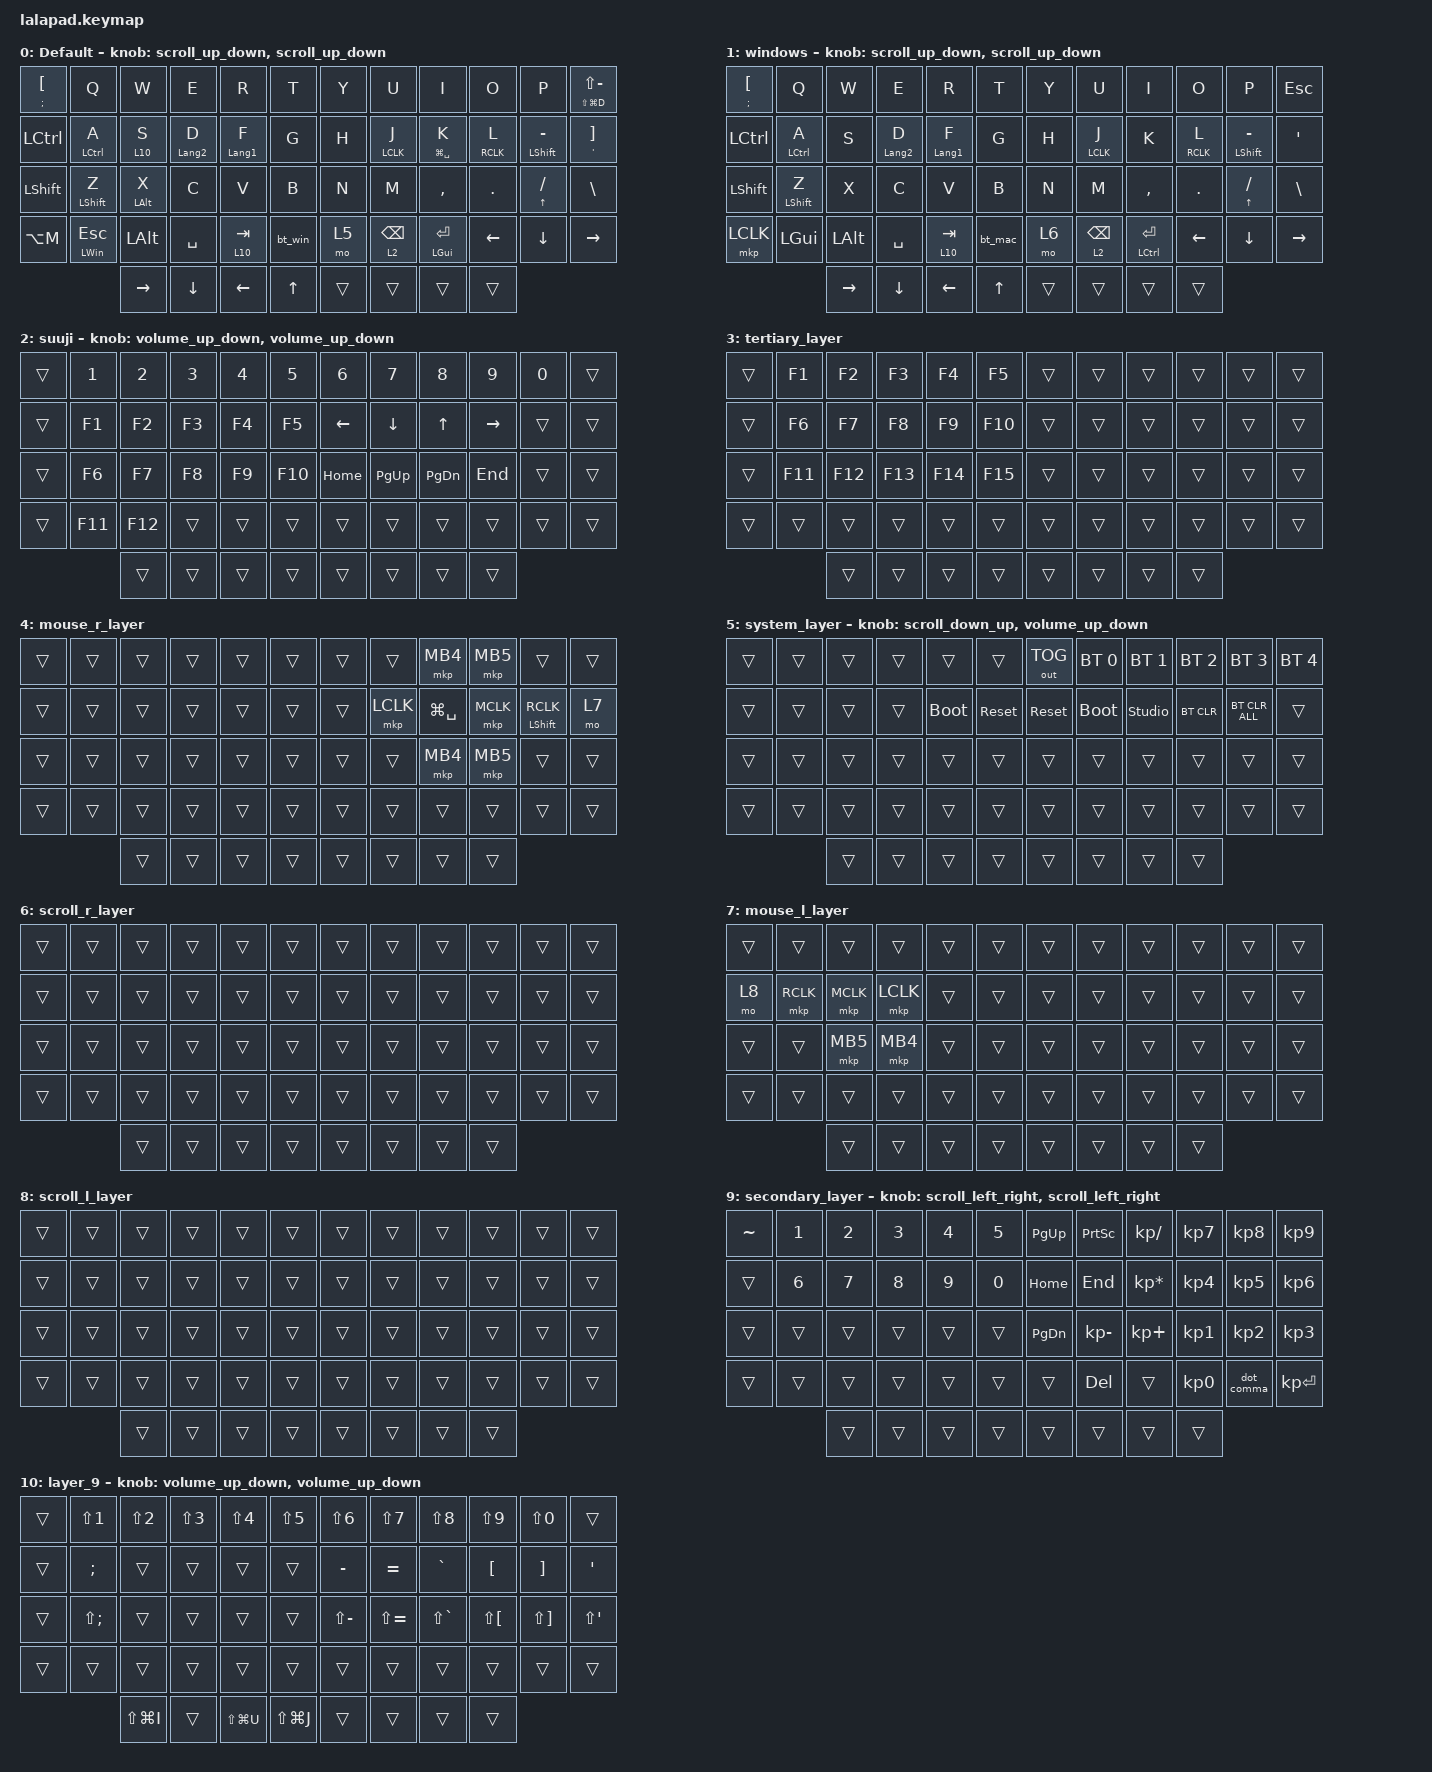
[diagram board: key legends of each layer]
#include <input/processors.dtsi>
#include <behaviors.dtsi>
#include <dt-bindings/zmk/bt.h>
#include <dt-bindings/zmk/keys.h>
#include <dt-bindings/zmk/outputs.h>
#include <dt-bindings/zmk/pointing.h>

#define DEFAULT_LAYER   0
#define SECONDARY_LAYER 1
#define TERTIARY_LAYER  2
#define SYSTEM_LAYER    3
#define MOUSE_R_LAYER   4
#define SCROLL_R_LAYER  5
#define MOUSE_L_LAYER   6
#define SCROLL_L_LAYER  7

// Mouse Scroll Value

#define ZMK_POINTING_DEFAULT_SCRL_VAL 100

// cirque trackpad input&layer control

&glidepoint_listener_R {
    input-processors =
        <&zip_xy_transform (INPUT_TRANSFORM_XY_SWAP | INPUT_TRANSFORM_X_INVERT | INPUT_TRANSFORM_Y_INVERT)>,
        <&zip_xy_scaler 3 2>,
        <&zip_temp_layer MOUSE_R_LAYER 500>;

    lowspeedmode {
        layers = <SECONDARY_LAYER>;
        input-processors =
            <&zip_xy_transform (INPUT_TRANSFORM_XY_SWAP | INPUT_TRANSFORM_X_INVERT | INPUT_TRANSFORM_Y_INVERT)>,
            <&zip_xy_scaler 3 5>,
            <&zip_temp_layer MOUSE_R_LAYER 500>;
    };

    scroller {
        layers = <SCROLL_R_LAYER>;
        input-processors =
            <&zip_xy_to_scroll_mapper>,
            <&zip_scroll_transform (INPUT_TRANSFORM_XY_SWAP | INPUT_TRANSFORM_Y_INVERT)>,
            <&zip_scroll_scaler 1 8>;
    };
};

&glidepoint_listener_L {
    input-processors =
        <&zip_xy_transform (INPUT_TRANSFORM_XY_SWAP | INPUT_TRANSFORM_X_INVERT | INPUT_TRANSFORM_Y_INVERT)>,
        <&zip_xy_scaler 3 2>,
        <&zip_temp_layer MOUSE_L_LAYER 500>;

    lowspeedmode {
        layers = <SECONDARY_LAYER>;
        input-processors =
            <&zip_xy_transform (INPUT_TRANSFORM_XY_SWAP | INPUT_TRANSFORM_X_INVERT | INPUT_TRANSFORM_Y_INVERT)>,
            <&zip_xy_scaler 3 4>,
            <&zip_temp_layer MOUSE_L_LAYER 500>;
    };

    scroller {
        layers = <SCROLL_L_LAYER>;
        input-processors =
            <&zip_xy_to_scroll_mapper>,
            <&zip_scroll_transform (INPUT_TRANSFORM_XY_SWAP | INPUT_TRANSFORM_Y_INVERT)>,
            <&zip_scroll_scaler 1 6>;
    };
};

/ {
    behaviors {
        // Encoder to Mouse Scroll

        scroll_up_down: sensor_scroll_up_down {
            compatible = "zmk,behavior-sensor-rotate";
            #sensor-binding-cells = <0>;
            bindings = <&msc SCRL_UP>, <&msc SCRL_DOWN>;

            tap-ms = <20>;
            label = "SCROLL_UP_DOWN";
        };

        scroll_down_up: sensor_scroll_down_up {
            compatible = "zmk,behavior-sensor-rotate";
            #sensor-binding-cells = <0>;
            bindings = <&msc SCRL_DOWN>, <&msc SCRL_UP>;

            tap-ms = <20>;
            label = "SCROLL_DOWN_UP";
        };

        scroll_left_right: sensor_scroll_left_right {
            compatible = "zmk,behavior-sensor-rotate";
            #sensor-binding-cells = <0>;
            bindings = <&msc SCRL_LEFT>, <&msc SCRL_RIGHT>;

            tap-ms = <20>;
            label = "SCROLL_LEFT_RIGHT";
        };

        scroll_right_left: sensor_scroll_right_left {
            compatible = "zmk,behavior-sensor-rotate";
            #sensor-binding-cells = <0>;
            bindings = <&msc SCRL_RIGHT>, <&msc SCRL_LEFT>;

            tap-ms = <20>;
            label = "SCROLL_RIGHT_LEFT";
        };

        volume_up_down: sensor_volume_up_down {
            compatible = "zmk,behavior-sensor-rotate";
            #sensor-binding-cells = <0>;
            bindings = <&kp C_VOL_DN>, <&kp C_VOL_UP>;

            tap-ms = <20>;
            label = "VOLUME_UP_DOWN";
        };

        dot_comma: dot_comma {
            compatible = "zmk,behavior-mod-morph";
            #binding-cells = <0>;
            bindings = <&kp KP_DOT>, <&kp COMMA>;

            mods = <(MOD_LSFT|MOD_RSFT)>;
            label = "DOT_COMMA";
        };

        pls_minus: pls_minus {
            compatible = "zmk,behavior-mod-morph";
            #binding-cells = <0>;
            bindings = <&kp PLUS>, <&kp MINUS>;

            mods = <(MOD_LSFT|MOD_RSFT)>;
            label = "PLS_MINUS";
        };

        allow_pageup: allow_pageup {
            compatible = "zmk,behavior-mod-morph";
            #binding-cells = <0>;
            bindings = <&kp UP>, <&kp PAGE_UP>;

            mods = <(MOD_LCTL|MOD_RCTL)>;
            label = "ALLOW_PAGEUP";
        };

        allow_pagedown: allow_pagedown {
            compatible = "zmk,behavior-mod-morph";
            #binding-cells = <0>;
            bindings = <&kp DOWN>, <&kp PAGE_DOWN>;

            mods = <(MOD_LCTL|MOD_RCTL)>;
            label = "ALLOW_PAGEDOWN";
        };

        allow_home: allow_home {
            compatible = "zmk,behavior-mod-morph";
            #binding-cells = <0>;
            bindings = <&kp LEFT>, <&kp HOME>;

            mods = <(MOD_LCTL|MOD_RCTL)>;
            label = "ALLOW_HOME";
        };

        allow_end: allow_end {
            compatible = "zmk,behavior-mod-morph";
            #binding-cells = <0>;
            bindings = <&kp RIGHT>, <&kp END>;

            mods = <(MOD_LCTL|MOD_RCTL)>;
            label = "ALLOW_END";
        };

        mt2: mod_tap2 {
            compatible = "zmk,behavior-hold-tap";
            #binding-cells = <2>;
            flavor = "tap-preferred";
            tapping-term-ms = <200>;
            quick-tap-ms = <200>;
            require-prior-idle-ms = <125>;
            bindings = <&kp>, <&kp>;
        };

        lt2: lt2 {
            compatible = "zmk,behavior-hold-tap";
            #binding-cells = <2>;
            flavor = "tap-preferred";
            tapping-term-ms = <200>;
            quick-tap-ms = <200>;
            require-prior-idle-ms = <125>;
            bindings = <&mo>, <&kp>;

            label = "LT2";
        };

        cppsx: cppsx {
            compatible = "zmk,behavior-tap-dance";
            label = "CPPSX";
            #binding-cells = <0>;
            bindings = <&kp LG(C)>, <&kp LG(V)>, <&kp LA(LG(V))>;
        };

        mkp_tap: mkp_tap {
            compatible = "zmk,behavior-hold-tap";
            #binding-cells = <2>;
            flavor = "tap-preferred";
            tapping-term-ms = <200>;
            quick-tap-ms = <200>;
            require-prior-idle-ms = <125>;
            bindings = <&mkp>, <&kp>;

            label = "MKP_TAP";
        };

        tap_mkp: tap_mkp {
            compatible = "zmk,behavior-hold-tap";
            #binding-cells = <2>;
            flavor = "tap-preferred";
            tapping-term-ms = <200>;
            quick-tap-ms = <200>;
            require-prior-idle-ms = <125>;
            bindings = <&kp>, <&mkp>;

            label = "TAP_MKP";
        };
    };

    macros {
        tap: tap {
            compatible = "zmk,behavior-macro";
            #binding-cells = <0>;
            bindings = <&mkp LCLK>;
            label = "TAP";
        };

        bt_mac: bt_mac {
            compatible = "zmk,behavior-macro";
            #binding-cells = <0>;
            bindings = <&bt BT_SEL 0 &to 0>;
            label = "BT_MAC";
        };

        bt_win: bt_win {
            compatible = "zmk,behavior-macro";
            #binding-cells = <0>;
            bindings = <&bt BT_SEL 2 &to 1>;
            label = "BT_WIN";
        };
    };

    keymap {
        compatible = "zmk,keymap";

        DEFAULT_LAYER {
            display-name = "Default";
            sensor-bindings = <&scroll_up_down>, <&scroll_up_down>;

            bindings = <
&mt2 SEMI LBKT  &kp Q                 &kp W            &kp E              &kp R              &kp T         &kp Y   &kp U             &kp I                &kp O            &kp P                  &mt2 LS(LG(D)) LS(MINUS)
&kp LCTRL       &mt2 LCTRL A          &lt2 10 S        &mt2 LANGUAGE_2 D  &mt2 LANGUAGE_1 F  &kp G         &kp H   &mkp_tap LCLK J   &mt2 LG(SPACE) K     &mkp_tap RCLK L  &mt2 LEFT_SHIFT MINUS  &mt2 SQT RBKT
&kp LSHFT       &mt2 LEFT_SHIFT Z     &mt2 LEFT_ALT X  &kp C              &kp V              &kp B         &kp N   &kp M             &kp COMMA            &kp PERIOD       &mt2 UP SLASH          &kp BSLH
&kp LA(M)       &mt2 LEFT_WIN ESCAPE  &kp LEFT_ALT     &kp SPACE          &lt2 10 TAB        &bt_win       &mo 5   &lt2 2 BACKSPACE  &mt2 LEFT_GUI ENTER  &kp LEFT         &kp DOWN               &kp RIGHT
                                      &kp RIGHT_ARROW  &kp DOWN_ARROW     &kp LEFT_ARROW     &kp UP_ARROW  &trans  &trans            &trans               &trans
            >;
        };

        windows {
            bindings = <
&mt2 SEMI LBKT  &kp Q              &kp W      &kp E              &kp R              &kp T         &kp Y   &kp U             &kp I             &kp O            &kp P                  &kp ESCAPE
&kp LCTRL       &mt2 LCTRL A       &kp S      &mt2 LANGUAGE_2 D  &mt2 LANGUAGE_1 F  &kp G         &kp H   &mkp_tap LCLK J   &kp K             &mkp_tap RCLK L  &mt2 LEFT_SHIFT MINUS  &kp APOS
&kp LSHFT       &mt2 LEFT_SHIFT Z  &kp X      &kp C              &kp V              &kp B         &kp N   &kp M             &kp COMMA         &kp DOT          &mt2 UP_ARROW FSLH     &kp BSLH
&mkp LCLK       &kp LGUI           &kp LALT   &kp SPACE          &lt2 10 TAB        &bt_mac       &mo 6   &lt2 2 BACKSPACE  &mt2 LCTRL ENTER  &kp LEFT_ARROW   &kp DOWN_ARROW         &kp RIGHT_ARROW
                                   &kp RIGHT  &kp DOWN_ARROW     &kp LEFT_ARROW     &kp UP_ARROW  &trans  &trans            &trans            &trans
            >;

            sensor-bindings = <&scroll_up_down>, <&scroll_up_down>;
        };

        suuji {
            bindings = <
&trans  &kp N1   &kp N2   &kp N3  &kp N4  &kp N5   &kp N6          &kp N7          &kp N8        &kp N9           &kp N0  &trans
&trans  &kp F1   &kp F2   &kp F3  &kp F4  &kp F5   &kp LEFT_ARROW  &kp DOWN_ARROW  &kp UP_ARROW  &kp RIGHT_ARROW  &trans  &trans
&trans  &kp F6   &kp F7   &kp F8  &kp F9  &kp F10  &kp HOME        &kp PG_UP       &kp PG_DN     &kp END          &trans  &trans
&trans  &kp F11  &kp F12  &trans  &trans  &trans   &trans          &trans          &trans        &trans           &trans  &trans
                 &trans   &trans  &trans  &trans   &trans          &trans          &trans        &trans
            >;

            sensor-bindings = <&volume_up_down>, <&volume_up_down>;
        };

        TERTIARY_LAYER {
            display-name = "tertiary_layer";
            bindings = <
&trans  &kp F1   &kp F2   &kp F3   &kp F4   &kp F5   &trans  &trans  &trans  &trans  &trans  &trans
&trans  &kp F6   &kp F7   &kp F8   &kp F9   &kp F10  &trans  &trans  &trans  &trans  &trans  &trans
&trans  &kp F11  &kp F12  &kp F13  &kp F14  &kp F15  &trans  &trans  &trans  &trans  &trans  &trans
&trans  &trans   &trans   &trans   &trans   &trans   &trans  &trans  &trans  &trans  &trans  &trans
                 &trans   &trans   &trans   &trans   &trans  &trans  &trans  &trans
            >;
        };

        MOUSE_R_LAYER {
            display-name = "mouse_r_layer";
            bindings = <
&trans  &trans  &trans  &trans  &trans  &trans  &trans  &trans     &mkp MB4       &mkp MB5   &trans                    &trans
&trans  &trans  &trans  &trans  &trans  &trans  &trans  &mkp LCLK  &kp LG(SPACE)  &mkp MCLK  &tap_mkp LEFT_SHIFT RCLK  &mo 7
&trans  &trans  &trans  &trans  &trans  &trans  &trans  &trans     &mkp MB4       &mkp MB5   &trans                    &trans
&trans  &trans  &trans  &trans  &trans  &trans  &trans  &trans     &trans         &trans     &trans                    &trans
                &trans  &trans  &trans  &trans  &trans  &trans     &trans         &trans
            >;
        };

        SYSTEM_LAYER {
            display-name = "system_layer";
            sensor-bindings = <&scroll_down_up>, <&volume_up_down>;

            bindings = <
&trans  &trans  &trans  &trans  &trans       &trans      &out OUT_TOG  &bt BT_SEL 0  &bt BT_SEL 1    &bt BT_SEL 2  &bt BT_SEL 3    &bt BT_SEL 4
&trans  &trans  &trans  &trans  &bootloader  &sys_reset  &sys_reset    &bootloader   &studio_unlock  &bt BT_CLR    &bt BT_CLR_ALL  &trans
&trans  &trans  &trans  &trans  &trans       &trans      &trans        &trans        &trans          &trans        &trans          &trans
&trans  &trans  &trans  &trans  &trans       &trans      &trans        &trans        &trans          &trans        &trans          &trans
                &trans  &trans  &trans       &trans      &trans        &trans        &trans          &trans
            >;
        };

        SCROLL_R_LAYER {
            display-name = "scroll_r_layer";
            bindings = <
&trans  &trans  &trans  &trans  &trans  &trans  &trans  &trans  &trans  &trans  &trans  &trans
&trans  &trans  &trans  &trans  &trans  &trans  &trans  &trans  &trans  &trans  &trans  &trans
&trans  &trans  &trans  &trans  &trans  &trans  &trans  &trans  &trans  &trans  &trans  &trans
&trans  &trans  &trans  &trans  &trans  &trans  &trans  &trans  &trans  &trans  &trans  &trans
                &trans  &trans  &trans  &trans  &trans  &trans  &trans  &trans
            >;
        };

        MOUSE_L_LAYER {
            display-name = "mouse_l_layer";
            bindings = <
&trans  &trans     &trans     &trans     &trans  &trans  &trans  &trans  &trans  &trans  &trans  &trans
&mo 8   &mkp RCLK  &mkp MCLK  &mkp LCLK  &trans  &trans  &trans  &trans  &trans  &trans  &trans  &trans
&trans  &trans     &mkp MB5   &mkp MB4   &trans  &trans  &trans  &trans  &trans  &trans  &trans  &trans
&trans  &trans     &trans     &trans     &trans  &trans  &trans  &trans  &trans  &trans  &trans  &trans
                   &trans     &trans     &trans  &trans  &trans  &trans  &trans  &trans
            >;
        };

        SCROLL_L_LAYER {
            display-name = "scroll_l_layer";
            bindings = <
&trans  &trans  &trans  &trans  &trans  &trans  &trans  &trans  &trans  &trans  &trans  &trans
&trans  &trans  &trans  &trans  &trans  &trans  &trans  &trans  &trans  &trans  &trans  &trans
&trans  &trans  &trans  &trans  &trans  &trans  &trans  &trans  &trans  &trans  &trans  &trans
&trans  &trans  &trans  &trans  &trans  &trans  &trans  &trans  &trans  &trans  &trans  &trans
                &trans  &trans  &trans  &trans  &trans  &trans  &trans  &trans
            >;
        };

        SECONDARY_LAYER {
            display-name = "secondary_layer";
            sensor-bindings = <&scroll_left_right>, <&scroll_left_right>;

            bindings = <
&kp TILDE  &kp NUMBER_1  &kp NUMBER_2  &kp NUMBER_3  &kp NUMBER_4  &kp NUMBER_5  &kp PAGE_UP    &kp PRINTSCREEN  &kp KP_SLASH     &kp KP_NUMBER_7  &kp KP_NUMBER_8  &kp KP_NUMBER_9
&trans     &kp NUMBER_6  &kp NUMBER_7  &kp NUMBER_8  &kp NUMBER_9  &kp NUMBER_0  &kp HOME       &kp END          &kp KP_ASTERISK  &kp KP_NUMBER_4  &kp KP_NUMBER_5  &kp KP_NUMBER_6
&trans     &trans        &trans        &trans        &trans        &trans        &kp PAGE_DOWN  &kp KP_MINUS     &kp KP_PLUS      &kp KP_NUMBER_1  &kp KP_NUMBER_2  &kp KP_NUMBER_3
&trans     &trans        &trans        &trans        &trans        &trans        &trans         &kp DELETE       &trans           &kp KP_NUMBER_0  &dot_comma       &kp KP_ENTER
                         &trans        &trans        &trans        &trans        &trans         &trans           &trans           &trans
            >;
        };

        layer_9 {
            bindings = <
&trans  &kp LS(N1)    &kp LS(N2)     &kp LS(N3)  &kp LS(N4)     &kp LS(N5)     &kp LS(N6)     &kp LS(N7)     &kp LS(N8)     &kp LS(N9)    &kp LS(N0)    &trans
&trans  &kp SEMI      &trans         &trans      &trans         &trans         &kp MINUS      &kp EQUAL      &kp GRAVE      &kp LBKT      &kp RBKT      &kp APOS
&trans  &kp LS(SEMI)  &trans         &trans      &trans         &trans         &kp LS(MINUS)  &kp LS(EQUAL)  &kp LS(GRAVE)  &kp LS(LBKT)  &kp LS(RBKT)  &kp LS(APOS)
&trans  &trans        &trans         &trans      &trans         &trans         &trans         &trans         &trans         &trans        &trans        &trans
                      &kp LS(LG(I))  &trans      &kp LS(LG(U))  &kp LS(LG(J))  &trans         &trans         &trans         &trans
            >;

            sensor-bindings = <&volume_up_down>, <&volume_up_down>;
        };
    };
};
